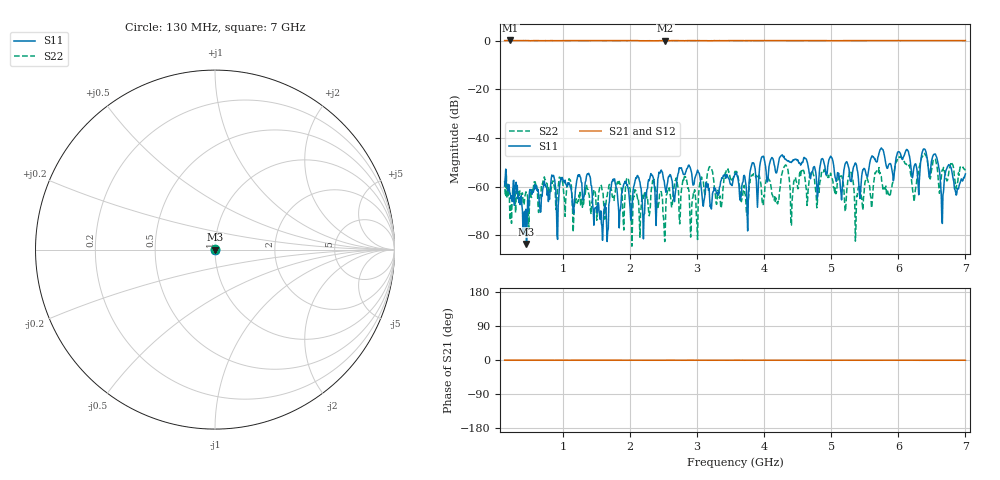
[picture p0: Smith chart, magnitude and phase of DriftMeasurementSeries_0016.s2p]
# Hz S RI R 50.000000
! Metas.Vna.Tools, 2.8.8664.20301
! Metas.Vna.Data, 2.8.8664.20285
! Created: UTC 2024.02.11 10:08:10
! FREQ  re:S1,1  im:S1,1  re:S2,1  im:S2,1  re:S1,2  im:S1,2  re:S2,2  im:S2,2
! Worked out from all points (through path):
!   801 points, 130 MHz to 7 GHz, reference 50 ohm
!   highest |S21| = 0.03 dB at 215.9 MHz (marker M1); lowest = -0.1 dB at 2.526 GHz (marker M2)
!   lowest |S11| = -83.6 dB at 456.3 MHz (marker M3), VSWR 1.00, Z = 50 + j0.00659 ohm
!   |S11| at or under -10 dB: start of sweep to end of sweep
!   |S22| runs from -84.5 to -46.4 dB; largest |S21 - S12| = 0.013
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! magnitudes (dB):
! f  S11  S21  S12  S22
! 130 MHz  -59.8  0.0  0.0  -57.6
! 215.9 MHz  -62.8  0.0  0.0  -73.8
! 456.3 MHz  -83.6  0.0  0.0  -62.4
! 851.4 MHz  -55.8  0.0  0.0  -57.6
! 920 MHz  -81.7  -0.1  0.0  -60.5
! 1.281 GHz  -58.4  0.0  0.0  -64.8
! 1.573 GHz  -75.2  0.0  0.0  -59.7
! 1.753 GHz  -57.6  0.0  0.0  -64.6
! 1.847 GHz  -70.4  0.0  0.0  -59.0
! 2.423 GHz  -55.9  -0.1  0.0  -67.5
! 2.526 GHz  -61.0  -0.1  0.0  -77.1
! 3.565 GHz  -54.8  0.0  0.0  -53.8
! 3.737 GHz  -61.7  0.0  0.0  -71.3
! 3.831 GHz  -50.4  0.0  0.0  -55.5
! 3.977 GHz  -47.7  0.0  0.0  -67.3
! 4.716 GHz  -53.8  0.0  0.0  -53.7
! 5.858 GHz  -50.9  0.0  0.0  -63.1
! 6.021 GHz  -46.0  0.0  0.0  -47.9
! 6.236 GHz  -51.7  0.0  0.0  -66.2
! 6.382 GHz  -44.6  0.0  0.0  -46.8
! 6.657 GHz  -75.2  0.0  0.0  -53.1
! 7 GHz  -54.8  0.0  0.0  -53.4
